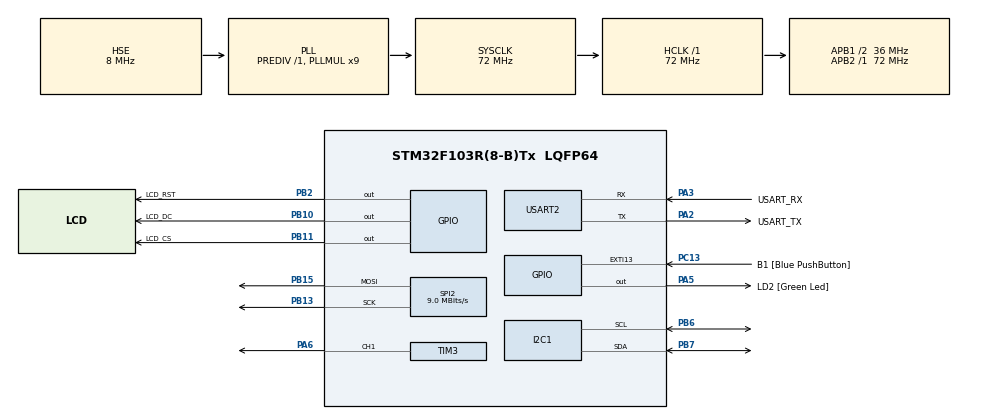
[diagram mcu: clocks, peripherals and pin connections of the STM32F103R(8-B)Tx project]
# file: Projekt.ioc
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Dma.Request0=TIM3_CH1/TRIG
Dma.Request1=SPI2_TX
Dma.SPI2_TX.1.Direction=DMA_MEMORY_TO_PERIPH
Dma.SPI2_TX.1.Instance=DMA1_Channel5
Dma.SPI2_TX.1.MemDataAlignment=DMA_MDATAALIGN_BYTE
Dma.SPI2_TX.1.MemInc=DMA_MINC_ENABLE
Dma.SPI2_TX.1.Mode=DMA_NORMAL
Dma.SPI2_TX.1.PeriphDataAlignment=DMA_PDATAALIGN_BYTE
Dma.SPI2_TX.1.PeriphInc=DMA_PINC_DISABLE
Dma.SPI2_TX.1.Priority=DMA_PRIORITY_LOW
Dma.TIM3_CH1/TRIG.0.Direction=DMA_PERIPH_TO_MEMORY
Dma.TIM3_CH1/TRIG.0.Instance=DMA1_Channel6
Dma.TIM3_CH1/TRIG.0.MemDataAlignment=DMA_MDATAALIGN_BYTE
Dma.TIM3_CH1/TRIG.0.MemInc=DMA_MINC_ENABLE
Dma.TIM3_CH1/TRIG.0.Mode=DMA_NORMAL
Dma.TIM3_CH1/TRIG.0.PeriphDataAlignment=DMA_PDATAALIGN_HALFWORD
Dma.TIM3_CH1/TRIG.0.PeriphInc=DMA_PINC_DISABLE
Dma.TIM3_CH1/TRIG.0.Priority=DMA_PRIORITY_LOW
IWDG.Prescaler=IWDG_PRESCALER_32
Mcu.Family=STM32F1
Mcu.Name=STM32F103R(8-B)Tx
Mcu.Package=LQFP64
NVIC.DMA1_Channel5_IRQn=true\:0\:0\:false\:false\:true\:false\:true\:true
NVIC.DMA1_Channel6_IRQn=true\:0\:0\:false\:false\:true\:false\:true\:true
NVIC.EXTI15_10_IRQn=true\:4\:0\:true\:false\:true\:true\:true\:true
NVIC.PriorityGroup=NVIC_PRIORITYGROUP_4
NVIC.USART2_IRQn=true\:10\:0\:true\:false\:true\:true\:true\:true
PA13.GPIO_Label=TMS
PA13.Mode=Serial_Wire
PA13.Signal=SYS_JTMS-SWDIO
PA14.GPIO_Label=TCK
PA14.Mode=Serial_Wire
PA14.Signal=SYS_JTCK-SWCLK
PA2.GPIO_Label=USART_TX
PA2.GPIO_Mode=GPIO_MODE_AF_PP
PA2.GPIO_PuPd=GPIO_NOPULL
PA2.GPIO_Speed=GPIO_SPEED_FREQ_LOW
PA2.Mode=Asynchronous
PA2.Signal=USART2_TX
PA3.GPIO_Label=USART_RX
PA3.GPIO_Mode=GPIO_MODE_AF_PP
PA3.GPIO_PuPd=GPIO_NOPULL
PA3.GPIO_Speed=GPIO_SPEED_FREQ_LOW
PA3.Mode=Asynchronous
PA3.Signal=USART2_RX
PA5.GPIO_Label=LD2 [Green Led]
PA5.GPIO_ModeDefaultOutputPP=GPIO_MODE_OUTPUT_PP
PA5.GPIO_PuPd=GPIO_NOPULL
PA5.GPIO_Speed=GPIO_SPEED_FREQ_LOW
PA5.Signal=GPIO_Output
PA6.Signal=S_TIM3_CH1
PB10.GPIO_Label=LCD_DC
PB10.PinState=GPIO_PIN_RESET
PB10.Signal=GPIO_Output
PB11.GPIO_Label=LCD_CS
PB11.PinState=GPIO_PIN_SET
PB11.Signal=GPIO_Output
PB13.Mode=TX_Only_Simplex_Unidirect_Master
PB13.Signal=SPI2_SCK
PB15.Mode=TX_Only_Simplex_Unidirect_Master
PB15.Signal=SPI2_MOSI
PB2.GPIO_Label=LCD_RST
PB2.Signal=GPIO_Output
PB3.GPIO_Label=SWO
PB3.Signal=SYS_JTDO-TRACESWO
PB6.Mode=I2C
PB6.Signal=I2C1_SCL
PB7.Mode=I2C
PB7.Signal=I2C1_SDA
PC13-TAMPER-RTC.GPIO_Label=B1 [Blue PushButton]
PC13-TAMPER-RTC.GPIO_PuPd=GPIO_NOPULL
PC13-TAMPER-RTC.Signal=GPXTI13
PC14-OSC32_IN.Mode=LSE-External-Oscillator
PC14-OSC32_IN.Signal=RCC_OSC32_IN
PC15-OSC32_OUT.Mode=LSE-External-Oscillator
PC15-OSC32_OUT.Signal=RCC_OSC32_OUT
PD0-OSC_IN.Mode=HSE-External-Clock-Source
PD0-OSC_IN.Signal=RCC_OSC_IN
PD1-OSC_OUT.Mode=HSE-External-Clock-Source
PD1-OSC_OUT.Signal=RCC_OSC_OUT
ProjectManager.HeapSize=0x200
ProjectManager.StackSize=0x400
ProjectManager.TargetToolchain=STM32CubeIDE
RCC.AHBFreq_Value=72000000
RCC.APB1CLKDivider=RCC_HCLK_DIV2
RCC.APB1Freq_Value=36000000
RCC.APB1TimFreq_Value=72000000
RCC.APB2Freq_Value=72000000
RCC.APB2TimFreq_Value=72000000
RCC.HCLKFreq_Value=72000000
RCC.PLLMUL=RCC_PLL_MUL9
RCC.PLLSourceVirtual=RCC_PLLSOURCE_HSE
RCC.RTCClockSelection=RCC_RTCCLKSOURCE_LSE
RCC.SYSCLKFreq_VALUE=72000000
RCC.SYSCLKSource=RCC_SYSCLKSOURCE_PLLCLK
RCC.USBFreq_Value=72000000
SH.S_TIM3_CH1.0=TIM3_CH1,PWM Generation1 CH1
SPI2.BaudRatePrescaler=SPI_BAUDRATEPRESCALER_4
SPI2.CalculateBaudRate=9.0 MBits/s
SPI2.Direction=SPI_DIRECTION_2LINES
SPI2.Mode=SPI_MODE_MASTER
SPI2.VirtualType=VM_MASTER
TIM3.Channel-PWM\ Generation1\ CH1=TIM_CHANNEL_1
TIM3.Period=99
USART2.VirtualMode=VM_ASYNC
VP_IWDG_VS_IWDG.Mode=IWDG_Activate
VP_TIM3_VS_ClockSourceINT.Mode=Internal
board=NUCLEO-F103RB

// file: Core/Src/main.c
/* USER CODE BEGIN Header */
/**
  ******************************************************************************
  * @file           : main.c
  * @brief          : Main program body
  ******************************************************************************
  * @attention
  *
  * Copyright (c) 2022 STMicroelectronics.
  * All rights reserved.
  *
  * This software is licensed under terms that can be found in the LICENSE file
  * in the root directory of this software component.
  * If no LICENSE file comes with this software, it is provided AS-IS.
  *
  ******************************************************************************
  */
/* USER CODE END Header */
#include "main.h"
#include "dma.h"
#include "i2c.h"
#include "iwdg.h"
#include "spi.h"
#include "tim.h"
#include "usart.h"
#include "gpio.h"

/* USER CODE BEGIN Includes */
#include <stdlib.h>
#include "ws2812b.h"
#include "UART_IT.h"
#include "lsm303d.h"
#include "lcd.h"
/* USER CODE END Includes */

void SystemClock_Config(void);

/* USER CODE BEGIN 0 */
int __io_putchar(int ch)
{
  if (ch == '\n') {
    __io_putchar('\r');
  }

  HAL_UART_Transmit(&huart2, (uint8_t*)&ch, 1, HAL_MAX_DELAY);

  return 1;
}

  void HAL_SPI_TxCpltCallback(SPI_HandleTypeDef *hspi)
  {
  	if (hspi == &hspi2)
  	{
  		lcd_transfer_done();
  	}

  }

static uint8_t uart_rx_buffer;
 // my usart is build in my microcontroler and using "huart2"

void HAL_UART_RxCpltCallback(UART_HandleTypeDef *huart)
{
  if (huart == &huart2) {
    line_append(uart_rx_buffer);
    HAL_UART_Receive_IT(&huart2, &uart_rx_buffer, 1);
  }
}
/* USER CODE END 0 */

int main(void)
{

  /* MCU Configuration--------------------------------------------------------*/

  /* Reset of all peripherals, Initializes the Flash interface and the Systick. */
  HAL_Init();

  /* Configure the system clock */
  SystemClock_Config();

  /* Initialize all configured peripherals */
  MX_GPIO_Init();
  MX_DMA_Init();
  MX_USART2_UART_Init();
  MX_I2C1_Init();
  MX_IWDG_Init();
  MX_TIM3_Init();
  MX_SPI2_Init();
  /* USER CODE BEGIN 2 */

  ws2812b_init();
  HAL_IWDG_Refresh(&hiwdg);
  lcd_init();

  HAL_UART_Receive_IT(&huart2, &uart_rx_buffer, 1);

  /* USER CODE END 2 */

  /* Infinite loop */
  /* USER CODE BEGIN WHILE */
  	  float tempValue;
  	  wchar_t msg[16];

    lsm_write_reg(LSM303D_CTRL5, 0x80|0x10);
    HAL_Delay(100);
  while (1)
  {
	  tempValue = lsm_read_value(LSM303D_TEMP_OUT);
	  swprintf(msg, 16, L"temp = %.2f :)", tempValue);
	    hagl_put_text(msg, 40, 55, YELLOW, font6x9);
	    HAL_IWDG_Refresh(&hiwdg);
	    HAL_Delay(1000);
  }
    /* USER CODE END WHILE */

  }
}

void SystemClock_Config(void)
{
  RCC_OscInitTypeDef RCC_OscInitStruct = {0};
  RCC_ClkInitTypeDef RCC_ClkInitStruct = {0};

  /** Initializes the RCC Oscillators according to the specified parameters
  * in the RCC_OscInitTypeDef structure.
  */
  RCC_OscInitStruct.OscillatorType = RCC_OSCILLATORTYPE_LSI|RCC_OSCILLATORTYPE_HSE;
  RCC_OscInitStruct.HSEState = RCC_HSE_BYPASS;
  RCC_OscInitStruct.HSEPredivValue = RCC_HSE_PREDIV_DIV1;
  RCC_OscInitStruct.HSIState = RCC_HSI_ON;
  RCC_OscInitStruct.LSIState = RCC_LSI_ON;
  RCC_OscInitStruct.PLL.PLLState = RCC_PLL_ON;
  RCC_OscInitStruct.PLL.PLLSource = RCC_PLLSOURCE_HSE;
  RCC_OscInitStruct.PLL.PLLMUL = RCC_PLL_MUL9;
  if (HAL_RCC_OscConfig(&RCC_OscInitStruct) != HAL_OK)
  {
    Error_Handler();
  }

  /** Initializes the CPU, AHB and APB buses clocks
  */
  RCC_ClkInitStruct.ClockType = RCC_CLOCKTYPE_HCLK|RCC_CLOCKTYPE_SYSCLK
                              |RCC_CLOCKTYPE_PCLK1|RCC_CLOCKTYPE_PCLK2;
  RCC_ClkInitStruct.SYSCLKSource = RCC_SYSCLKSOURCE_PLLCLK;
  RCC_ClkInitStruct.AHBCLKDivider = RCC_SYSCLK_DIV1;
  RCC_ClkInitStruct.APB1CLKDivider = RCC_HCLK_DIV2;
  RCC_ClkInitStruct.APB2CLKDivider = RCC_HCLK_DIV1;

  if (HAL_RCC_ClockConfig(&RCC_ClkInitStruct, FLASH_LATENCY_2) != HAL_OK)
  {
    Error_Handler();
  }
}

void Error_Handler(void)
{
  __disable_irq();
  while (1)
  {
  }
}
